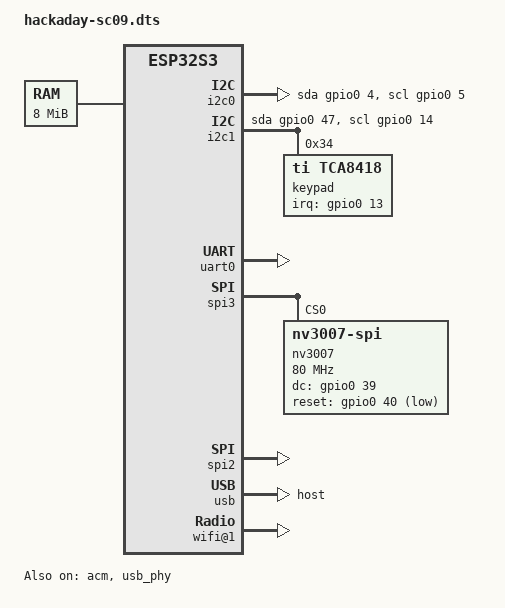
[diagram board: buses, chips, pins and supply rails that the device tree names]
// SPDX-License-Identifier: GPL-2.0-or-later
/dts-v1/;
#include <dt-bindings/gpio/gpio.h>
#include <dt-bindings/interrupt-controller/irq.h>
#include "gpio-esp32.h"
#include "esp32s3.dtsi"

/ {
	memory@0 {
		device_type = "memory";
		reg = <0x3d800000 0x00800000>;
	};

	/*
	backlight: backlight {
		compatible = "gpio-backlight";
		gpios = <&gpio0 2 GPIO_ACTIVE_HIGH>;
		default-on;
	};
	*/

	/* SAO port */
	i2c0 {
		#address-cells = <1>;
		#size-cells = <0>;
		compatible = "i2c-gpio";

		sda-gpios = <&gpio0 4 (GPIO_ACTIVE_HIGH | GPIO_OPEN_DRAIN)>;
		scl-gpios = <&gpio0 5 (GPIO_ACTIVE_HIGH | GPIO_OPEN_DRAIN)>;
	};

	/* Keyboard interface */
	i2c1 {
		#address-cells = <1>;
		#size-cells = <0>;
		compatible = "i2c-gpio";

		sda-gpios = <&gpio0 47 (GPIO_ACTIVE_HIGH | GPIO_OPEN_DRAIN)>;
		scl-gpios = <&gpio0 14 (GPIO_ACTIVE_HIGH | GPIO_OPEN_DRAIN)>;

		keypad: tca8418@34 {
			compatible = "ti,tca8418";
			reg = <0x34>;
			interrupt-parent = <&gpio0>;
			interrupts = <13 IRQ_TYPE_LEVEL_LOW>; /* Interrupt on GPIO pin IO13, falling edge */
			keypad,num-rows = <8>;
			keypad,num-columns = <10>;
			linux,keymap = <
				0x0001003b 0x0002004a 0x00030049 0x00040048 0x00050047 0x0006003c 0x0007003d 0x0008003e 0x0009003f
				0x01000001 0x01010010 0x01020011 0x01030012 0x01040013 0x01050014 0x01060015 0x01070016 0x01080017 0x01090018
				0x0200000f 0x0201001e 0x0202001f 0x02030020 0x02040021 0x02050022 0x02060023 0x02070024 0x02080025 0x02090026
				0x0300002a 0x0301002c 0x0302002d 0x0303002e 0x0304002f 0x03050030 0x03060031 0x03070032 0x03080033 0x03090034
				0x0400001d 0x0401007d 0x04020038 0x0403002b 0x04040039 0x0406006a 0x0407006c 0x04080069 0x04090064
				0x0502004a 0x0503004d 0x0504004c 0x0505004b 0x0506001b 0x0507001a 0x05080019
				0x06020037 0x06030051 0x06040050 0x0605004f 0x0606001c 0x06070028 0x06080027
				0x07020062 0x07030075 0x07040053 0x07050052 0x07060036 0x07070067 0x0708000e
			>;
		};
	};
};

&gpio_in_mux {
	status = "ok";
	usb_device_in: usb_device_in {
		pinctrl-single,pins = <
			GPIO_FUNC_IN_SEL(58) 0x38		/* usb_otg_iddig_in: fixed '1' */
			GPIO_FUNC_IN_SEL(59) 0x3c		/* usb_srp_avalid_in: fixed '0' */
			GPIO_FUNC_IN_SEL(60) 0x38		/* usb_srp_bvalid_in: fixed '1' */
			GPIO_FUNC_IN_SEL(61) 0x38>;		/* usb_otg_vbusvalid_in: fixed '1' */
	};

	usb_host_in: usb_host_in {
		pinctrl-single,pins = <
			GPIO_FUNC_IN_SEL(58) 0x3c		/* usb_otg_iddig_in: fixed '0' */
			GPIO_FUNC_IN_SEL(59) 0x38		/* usb_srp_avalid_in: fixed '1' */
			GPIO_FUNC_IN_SEL(60) 0x3c		/* usb_srp_bvalid_in: fixed '0' */
			GPIO_FUNC_IN_SEL(61) 0x38>;		/* usb_otg_vbusvalid_in: fixed '1' */
	};

	/* SX1262 LoRa Radio */
	spi2_gpio_in: spi2_gpio_in {
		pinctrl-single,pins = <
			GPIO_FUNC_OUT_SEL(9) 102>;		/* SPI2 MISO: GPIO9, signal 102 */
	};
};

&gpio_out_mux {
	status = "ok";

	/* All of the SPI peripherals are connected through the GPIO mux */
	/* SX1262 LoRa Radio */
	spi2_gpio_out: spi2_gpio_out {
		pinctrl-single,pins = <
			GPIO_FUNC_OUT_SEL(17) 110		/* SPI2 CS0:  GPIO17, signal 110 */
			GPIO_FUNC_OUT_SEL(3) 103		/* SPI2 MOSI: GPIO3, signal 103 */
			GPIO_FUNC_OUT_SEL(8) 101>;		/* SPI2 SCK:  GPIO8, signal 101 */
	};

	/* NV3007 LCD controller */
	spi3_gpio_out: spi3_gpio_out {
		pinctrl-single,pins = <
			GPIO_FUNC_OUT_SEL(41) 110		/* SPI3 CS0:  GPIO41, signal 71 */
			GPIO_FUNC_OUT_SEL(21) 103		/* SPI3 MOSI: GPIO21, signal 68 */
			GPIO_FUNC_OUT_SEL(38) 101>;		/* SPI3 SCK:  GPIO38, signal 66 */
	};
};

&rtc_iomux {
	status = "ok";
	usb_rtc_pins: usb_rtc_pins {
		pinctrl-single,pins = <
			PIN(19) RTC_MUX_SEL			/* USB_D- */
			PIN(20) RTC_MUX_SEL>;		/* USB_D+ */
	};
};

&iomux {
	status = "ok";

	/* None of the SPI peripherals are directly connected through IO MUX */
	/* SX1262 LoRa Radio */
	sx1262_pins: sx1262_pins {
		pinctrl-single,pins = <
			PIN(17) FUN0_DRV_20MA		/* CS0 */
			PIN(3) FUN0_DRV_20MA		/* MOSI */
			PIN(8) FUN0_DRV_20MA		/* SCK */
			PIN(9) FUN0_20MA_IE_WPU		/* MISO */
			PIN(10) FUN0_20MA			/* SW */
			PIN(15) FUN0_20MA_IE_WPU	/* BUSY */
			PIN(16) FUN0_20MA>;			/* DIO */
	};

	/* NV3007 LCD controller */
	lcd_pins: lcd_pins {
		pinctrl-single,pins = <
			PIN(41) FUN0_DRV_20MA		/* CS0 */
			PIN(21) FUN0_DRV_20MA		/* MOSI */
			PIN(38) FUN0_DRV_20MA		/* SCK */
			PIN(39) FUN0_DRV_20MA		/* D/C */
			PIN(40) FUN0_DRV_20MA>		/* RESET */
			PIN(2)  FUN0_20MA_IE_WPD    /* BACKLIGHT: FIXME */
			PIN(42) FUN0_20MA_IE_WPU>;	/* TE (FIXME -- pull-up for now) */
	};

	uart0_pins: uart0_pins {
		pinctrl-single,pins = <
			PIN(43) FUN0_20MA			/* U0TXD */
			PIN(44) FUN0_20MA_IE_WPU>;	/* U0RXD */
	};
	usb_pins: usb_pins {
		pinctrl-single,pins = <
			PIN(19) MUX_SLP_SEL			/* USB_D- */
			PIN(20) MUX_SLP_SEL>;		/* USB_D+ */
	};
};

&gpio0 {
	status = "ok";
};

&uart0 {
	pinctrl-0 = <&uart0_pins>;
	pinctrl-names = "default";
	status = "ok";
};

/* NV3007 LCD Controller */
&spi3 {
	pinctrl-0 = <&spi3_pins &spi3_gpio_out>;
	pinctrl-names = "default";
	status = "ok";

	nv3007@0 {
		compatible = "nv3007-spi", "hackaday,nv3007";
		reg = <0>;
		spi-max-frequency = <80000000>;
		dc-gpios = <&gpio0 39 GPIO_ACTIVE_HIGH>;
		reset-gpios = <&gpio0 40 GPIO_ACTIVE_LOW>;
		rotation = <270>;
		/* backlight = <&backlight>; */
		status = "ok";

		pinctrl-0 = <&lcd_pins>;
		pinctrl-names = "default";
	};
};

/* SX1262 LoRa Radio */
&spi2 {
	pinctrl-0 = <&spi2_pins>;
	pinctrl-names = "default";
	status = "ok";

	/* FIXME: Replace with SX1262 radio
	mmc_spi@0 {
		compatible = "mmc-spi-slot";
		reg = <0>;
	};
	*/
};

&acm {
	status = "ok";
};

&usb_phy {
	status = "ok";
};

&usb {
#if 1
	dr_mode = "host";
	pinctrl-0 = <&usb_host_in &usb_rtc_pins>;
#else
	dr_mode = "peripheral";
	pinctrl-0 = <&usb_device_in &usb_rtc_pins>;
#endif
	pinctrl-names = "default";
	status = "ok";
};

&ipc {
	wifi@1 {
		compatible = "esp,esp32-wifi-shmem";
		reg = <1>;
	};
};

&intc {
	reg = <0x600c2800 0x800>;
};
